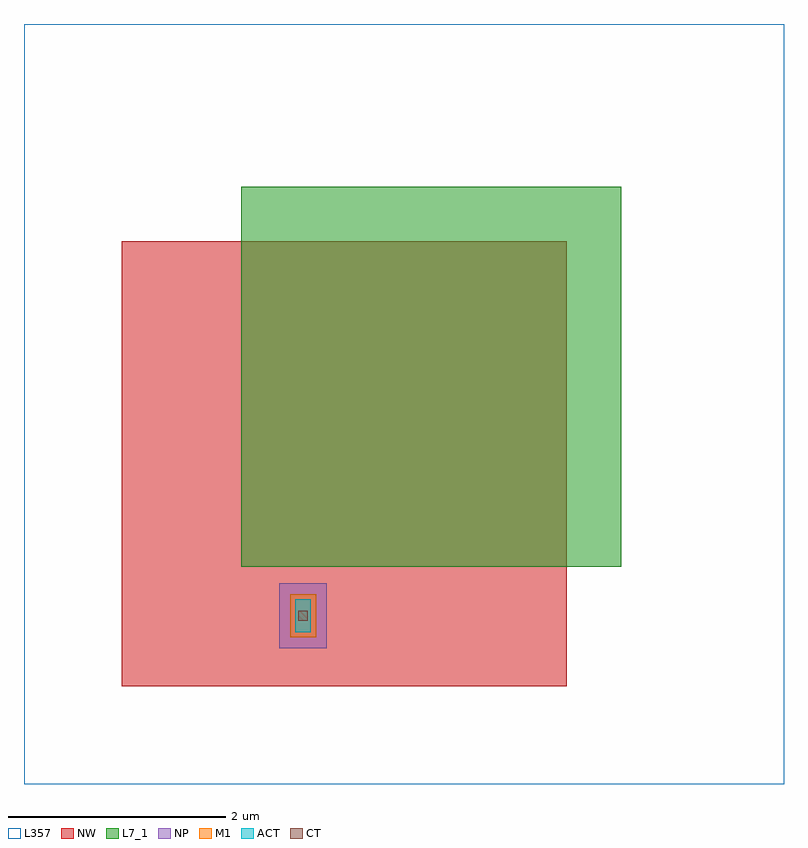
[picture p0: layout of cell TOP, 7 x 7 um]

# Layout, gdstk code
import gdstk
lib = gdstk.Library(unit=1e-6, precision=1e-09)
def R(c, l, rs):  # rectangles x0, y0, x1, y1
    for r in rs: c.add(gdstk.rectangle(r[:2], r[2:], *l))
ACT = (2, 1)
L7_1 = (7, 1)
NW = (9, 1)
NP = (52, 1)
CT = (72, 1)
M1 = (81, 1)
L357 = (357, 12)

top = lib.new_cell('TOP')
R(top, ACT, [(0.5,-0.6,0.64,-0.3)])
R(top, L7_1, [(0,0,3.5,3.5)])
R(top, NW, [(-1.1,-1.1,3,3)])
R(top, NP, [(0.35,-0.75,0.79,-0.15)])
R(top, CT, [(0.525,-0.495,0.615,-0.405)])
R(top, M1, [(0.45,-0.65,0.69,-0.25)])
R(top, L357, [(-2,-2,5,5)])

lib.write_gds('TOP.gds')
